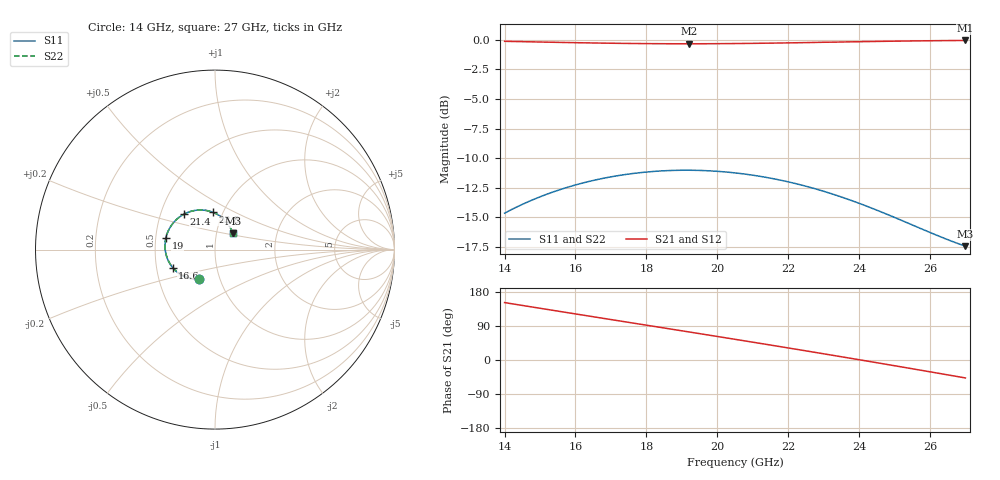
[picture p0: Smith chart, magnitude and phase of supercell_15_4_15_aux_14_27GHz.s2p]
! Touchstone file exported from HFSS 2026.1.0
!  Generated:  01:09:50 PM Aug 20, 2026
!  Design:  HFSSDesign_Supercell_15_4_15
!  Project:  15-4-15_super_cell
!  Setup:  Setup1
!  Solution:  Sweep_16_2_16_aux
! Variables:
!  stub_length = 12.1um
# GHz S MA R 50.000000
! Terminal data exported
! Port[1] = Port1
! Port[2] = Port2
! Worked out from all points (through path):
!   66 points, 14 GHz to 27 GHz, reference 50 ohm
!   highest |S21| = -0.08 dB at 27 GHz (marker M1); lowest = -0.4 dB at 19.2 GHz (marker M2)
!   group delay of S21, straight-line fit = 42.3 ps
!   lowest |S11| = -17.4 dB at 27 GHz (marker M3), VSWR 1.31, Z = 59.8 + j11.2 ohm
!   |S11| at or under -10 dB: start of sweep to end of sweep
!   |S22| runs from -17.4 to -11.0 dB; largest |S21 - S12| = 0.0007
!   S11 on the Smith chart (normalised r, x): 14 GHz: 0.80, -0.27; 16.6 GHz: 0.61, -0.13; 19 GHz: 0.57, +0.08; 21.4 GHz: 0.66, +0.28; 23.8 GHz: 0.89, +0.39; 27 GHz: 1.20, +0.22
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14  0.1854 -117.9  0.9827 151.5  0.9827 151.5  0.1854 -119.1
! Gamma 0 12079.8651550384 0 12139.8222072022
! Port Impedance 50 0 50 0
14.6  0.2052 -127.0  0.9787 142.5  0.9787 142.5  0.2052 -128.0
15.2  0.2231 -136.1  0.9748 133.5  0.9748 133.5  0.2231 -136.9
16.2  0.2484 -151.1  0.9687 118.6  0.9687 118.6  0.2484 -151.7
16.6  0.2567 -157.1  0.9665 112.7  0.9665 112.7  0.2567 -157.6
17.6  0.2723 -172.0  0.9622 97.8  0.9622 97.8  0.2723 -172.3
18.4  0.2793 176.1  0.9602 86.0  0.9602 86.0  0.2793 175.9
19  0.2813 167.1  0.9596 77.0  0.9596 77.0  0.2813 167.0
19.2  0.2813 164.1  0.9596 74.1  0.9596 74.1  0.2813 164.0
19.8  0.2795 155.1  0.9601 65.1  0.9601 65.1  0.2795 155.1
20.6  0.273 143.1  0.962 53.1  0.962 53.1  0.273 143.1
21.4  0.2621 130.9  0.965 41.0  0.965 41.0  0.2621 131.1
22.2  0.2473 118.7  0.969 28.8  0.9689 28.8  0.2473 118.9
22.8  0.2341 109.4  0.9724 19.5  0.972 19.5  0.2341 109.6
23.4  0.2195 100.0  0.9754 10.2  0.9759 10.2  0.2195 100.4
23.8  0.2093 93.8  0.9778 3.9  0.9779 3.9  0.2093 94.0
24.4  0.1936 84.3  0.9811 -5.6  0.9811 -5.6  0.1936 84.6
25  0.178 74.8  0.984 -15.1  0.984 -15.1  0.178 75.0
25.4  0.1679 68.4  0.9858 -21.5  0.9858 -21.5  0.1679 68.6
26  0.1538 58.9  0.9881 -31.1  0.9881 -31.1  0.1538 58.9
26.4  0.1454 52.5  0.9894 -37.6  0.9894 -37.6  0.1454 52.4
27  0.1346 42.8  0.9909 -47.3  0.9909 -47.3  0.1346 42.5
